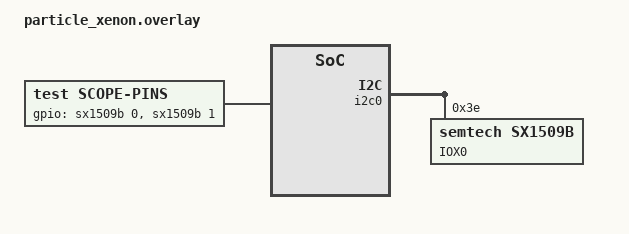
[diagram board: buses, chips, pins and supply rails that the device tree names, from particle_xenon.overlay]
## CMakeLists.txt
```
# SPDX-License-Identifier: Apache-2.0

cmake_minimum_required(VERSION 3.28.0)
find_package(Zephyr REQUIRED HINTS $ENV{ZEPHYR_BASE})
project(gpio_basic_api)

FILE(GLOB app_sources src/main.c src/test*.c)
target_sources(app PRIVATE ${app_sources})
target_sources_ifdef(CONFIG_GPIO_EMUL app PRIVATE src/gpio_emul_callback.c)
```

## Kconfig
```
# Copyright (c) 2023 Nordic Semiconductor ASA
# SPDX-License-Identifier: Apache-2.0

source "Kconfig.zephyr"

config SKIP_PULL_TEST
	bool "Skip the pull test even if the driver supports it"

config GPIO_TEST_READ_DELAY
	int "GPIO basic API test read delay in ms"
	default 0
	help
	  Delay, in milliseconds, before reading the GPIO input in this
	  test. This can help boards with slower GPIO signal propagation.
```

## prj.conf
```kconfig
CONFIG_GPIO=y
CONFIG_GPIO_GET_CONFIG=y
CONFIG_ZTEST=y
CONFIG_TEST_USERSPACE=y
```

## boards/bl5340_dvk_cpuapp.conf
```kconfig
CONFIG_I2C=y
CONFIG_GPIO_TCA9538=y
```

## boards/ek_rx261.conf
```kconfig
CONFIG_READ_DELAY=10
```

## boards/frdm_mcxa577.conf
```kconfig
# The external D9-D10 loopback prevents testing the input pull resistors.
CONFIG_SKIP_PULL_TEST=y
CONFIG_GPIO_TEST_READ_DELAY=10
```

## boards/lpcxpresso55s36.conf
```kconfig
CONFIG_SKIP_PULL_TEST=y
CONFIG_GPIO_TEST_READ_DELAY=100
```

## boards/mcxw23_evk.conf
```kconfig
CONFIG_SKIP_PULL_TEST=y
CONFIG_GPIO_TEST_READ_DELAY=10
```

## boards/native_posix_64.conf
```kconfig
# Copyright (c) 2020 Friedt Professional Engineering Services, Inc
# SPDX-License-Identifier: Apache-2.0

CONFIG_GPIO_EMUL=y
```

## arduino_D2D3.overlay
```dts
/*
 * Copyright (c) 2024 NXP
 *
 * SPDX-License-Identifier: Apache-2.0
 */

/* loopback with arduino header D2 and D3 */

/ {
	resources {
		compatible = "test-gpio-basic-api";
		out-gpios = <&arduino_header 8 (GPIO_ACTIVE_HIGH | GPIO_PUSH_PULL | GPIO_PULL_UP)>;
		in-gpios = <&arduino_header 9 (GPIO_ACTIVE_HIGH | GPIO_PUSH_PULL | GPIO_PULL_UP)>;
		status = "okay";
	};
};
```

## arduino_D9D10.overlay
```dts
/*
 * Copyright (c) 2024 NXP
 *
 * SPDX-License-Identifier: Apache-2.0
 */

/* loopback with arduino header D9 and D10 */

/ {
	resources {
		compatible = "test-gpio-basic-api";
		out-gpios = <&arduino_header 15 (GPIO_ACTIVE_HIGH | GPIO_PUSH_PULL | GPIO_PULL_UP)>;
		in-gpios = <&arduino_header 16 (GPIO_ACTIVE_HIGH | GPIO_PUSH_PULL | GPIO_PULL_UP)>;
		status = "okay";
	};
};
```

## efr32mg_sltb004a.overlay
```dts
/*
 * Copyright (c) 2019 Nordic Semiconductor ASA
 *
 * SPDX-License-Identifier: Apache-2.0
 */

/ {
	scope-pins {
		compatible = "test,scope-pins";
		gpios = <&gpiof 6 0>, <&gpiof 5 0>;
	};
};
```

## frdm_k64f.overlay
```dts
/*
 * Copyright (c) 2019 Nordic Semiconductor ASA
 *
 * SPDX-License-Identifier: Apache-2.0
 */

/ {
	scope-pins {
		compatible = "test,scope-pins";
		gpios =
			<&gpioc 16 0>, <&gpioc 17 0>,
			<&gpioc 2 0>, <&gpioc 3 0>,
			<&gpioc 1 0>, <&gpioc 8 0>,
			<&gpioc 9 0>, <&gpioc 0 0>,
			<&gpioc 7 0>, <&gpioc 5 0>;
			
	};
};
```

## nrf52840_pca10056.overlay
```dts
/*
 * Copyright (c) 2019 Nordic Semiconductor ASA
 *
 * SPDX-License-Identifier: Apache-2.0
 */

/ {
	scope-pins {
		compatible = "test,scope-pins";
		/* Use pins on P3 (Arduino D0) header. */
		gpios =
			<&gpio1 1 0>, <&gpio1 2 0>,
			<&gpio1 3 0>, <&gpio1 4 0>,
			<&gpio1 5 0>, <&gpio1 6 0>,
			<&gpio1 7 0>, <&gpio1 8 0>;
	};
};
```

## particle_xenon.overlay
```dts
/*
 * Copyright (c) 2019 Nordic Semiconductor ASA
 *
 * SPDX-License-Identifier: Apache-2.0
 */

&i2c0 {
	sx1509b: sx1509b@3e {
		compatible = "semtech,sx1509b";
		reg = <0x3e>;
		label = "IOX0";
		#gpio-cells = <2>;
		gpio-controller;
	};
};

/ {
	scope-pins {
		compatible = "test,scope-pins";
		gpios =
			<&sx1509b 0 0>, <&sx1509b 1 0>;
	};
};
```

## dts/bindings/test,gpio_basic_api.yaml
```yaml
#
# Copyright (c) 2019 Nordic Semiconductor ASA
#
# SPDX-License-Identifier: Apache-2.0
#

description: |
    This binding provides resources required to build and run the
    tests/drivers/gpio/gpio_basic_api test in Zephyr.

compatible: "test,gpio_basic_api"

properties:
    out-gpios:
        type: phandle-array
        required: true
        description: |
          Identity of a GPIO that will be configured as an output.  This
          must be on the same device as in-gpios, and physically
          connected to in-gpios.

    in-gpios:
        type: phandle-array
        required: true
        description: |
          Identity of a GPIO that will be configured as an input.  This
          must be on the same device as out-gpios,and physically
          connected to out-gpios.
```

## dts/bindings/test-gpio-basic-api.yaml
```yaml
#
# Copyright (c) 2019 Nordic Semiconductor ASA
#
# SPDX-License-Identifier: Apache-2.0
#

description: |
    This binding provides resources required to build and run the
    tests/drivers/gpio/gpio_basic_api test in Zephyr.

compatible: "test-gpio-basic-api"

properties:
  out-gpios:
    type: phandle-array
    required: true
    description: |
      Identity of a GPIO that will be configured as an output.  This
      must be on the same device as in-gpios, and physically
      connected to in-gpios.

  in-gpios:
    type: phandle-array
    required: true
    description: |
      Identity of a GPIO that will be configured as an input.  This
      must be on the same device as out-gpios,and physically
      connected to out-gpios.
```

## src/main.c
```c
/*
 * Copyright (c) 2016 Intel Corporation
 * Copyright 2024 NXP
 *
 * SPDX-License-Identifier: Apache-2.0
 */

#include <zephyr/pm/device_runtime.h>
#include "test_gpio.h"

/* Grotesque hack for pinmux boards */
#if defined(CONFIG_BOARD_RV32M1_VEGA)
#include <fsl_port.h>
#elif defined(CONFIG_BOARD_UDOO_NEO_FULL_MCIMX6X_M4)
#include "device_imx.h"
#elif defined(CONFIG_BOARD_MIMXRT1050_EVK)
#include <fsl_iomuxc.h>
#elif defined(CONFIG_SOC_SERIES_BSIM_NRFXX)
#include <NRF_GPIO.h>
#endif

static void board_setup(void)
{
#if defined(CONFIG_BOARD_UDOO_NEO_FULL_MCIMX6X_M4)
	/*
	 * Configure pin mux.
	 * The following code needs to configure the same GPIOs which were
	 * selected as test pins in device tree.
	 */

	if (PIN_IN != 15) {
		printk("FATAL: input pin set in DTS %d != %d\n", PIN_IN, 15);
		k_panic();
	}

	if (PIN_OUT != 14) {
		printk("FATAL: output pin set in DTS %d != %d\n", PIN_OUT, 14);
		k_panic();
	}

	/* Configure pin RGMII2_RD2 as GPIO5_IO14. */
	IOMUXC_SW_MUX_CTL_PAD_RGMII2_RD2 =
				IOMUXC_SW_MUX_CTL_PAD_RGMII2_RD2_MUX_MODE(5);
	/* Select pull enabled, speed 100 MHz, drive strength 43 ohm */
	IOMUXC_SW_PAD_CTL_PAD_RGMII2_RD2 =
				IOMUXC_SW_PAD_CTL_PAD_RGMII2_RD2_PUE_MASK |
				IOMUXC_SW_PAD_CTL_PAD_RGMII2_RD2_PKE_MASK |
				IOMUXC_SW_PAD_CTL_PAD_RGMII2_RD2_SPEED(2) |
				IOMUXC_SW_PAD_CTL_PAD_RGMII2_RD2_DSE(6);

	/* Configure pin RGMII2_RD3 as GPIO5_IO15. */
	IOMUXC_SW_MUX_CTL_PAD_RGMII2_RD3 =
				IOMUXC_SW_MUX_CTL_PAD_RGMII2_RD3_MUX_MODE(5);
	/* Select pull enabled, speed 100 MHz, drive strength 43 ohm */
	IOMUXC_SW_PAD_CTL_PAD_RGMII2_RD3 =
				IOMUXC_SW_PAD_CTL_PAD_RGMII2_RD3_PUE_MASK |
				IOMUXC_SW_PAD_CTL_PAD_RGMII2_RD3_PKE_MASK |
				IOMUXC_SW_PAD_CTL_PAD_RGMII2_RD3_SPEED(2) |
				IOMUXC_SW_PAD_CTL_PAD_RGMII2_RD3_DSE(6);
#elif defined(CONFIG_GPIO_EMUL)
	extern struct gpio_callback gpio_emul_callback;
	const struct device *const dev = DEVICE_DT_GET(DEV_OUT);

	zassert_true(device_is_ready(dev), "GPIO dev is not ready");
	int rc = gpio_add_callback(dev, &gpio_emul_callback);
	__ASSERT(rc == 0, "gpio_add_callback() failed: %d", rc);
#elif defined(CONFIG_SOC_SERIES_BSIM_NRFXX)
	static bool done;

	if (!done) {
		done = true;
		/* This functions allows to programmatically short-circuit SOC GPIO pins */
#if defined(CONFIG_BOARD_NRF5340BSIM_NRF5340_CPUAPP)
		/* The 5340/cpuapp GPIO 1, is the HW models GPIO port 3 */
		nrf_gpio_backend_register_short(3, PIN_OUT, 3, PIN_IN);
#else
		nrf_gpio_backend_register_short(1, PIN_OUT, 1, PIN_IN);
#endif
	}
#endif
}

static void *gpio_basic_setup(void)
{
	board_setup();

	(void)pm_device_runtime_get(DEVICE_DT_GET(DEV_IN));
	(void)pm_device_runtime_get(DEVICE_DT_GET(DEV_OUT));
#ifdef CONFIG_UART_CONSOLE
	(void)pm_device_runtime_get(DEVICE_DT_GET(DT_CHOSEN(zephyr_console)));
#endif
	k_object_access_grant(DEVICE_DT_GET(DEV_IN), k_current_get());
	k_object_access_grant(DEVICE_DT_GET(DEV_OUT), k_current_get());
	return NULL;
}

void gpio_basic_teardown(void *args)
{
	(void)args;
	(void)pm_device_runtime_put(DEVICE_DT_GET(DEV_IN));
	(void)pm_device_runtime_put(DEVICE_DT_GET(DEV_OUT));
#ifdef CONFIG_UART_CONSOLE
	(void)pm_device_runtime_put(DEVICE_DT_GET(DT_CHOSEN(zephyr_console)));
#endif
}

/* Test GPIO port configuration */
ZTEST_SUITE(gpio_port, NULL, gpio_basic_setup, NULL, NULL, gpio_basic_teardown);

/* Test GPIO callback management */
ZTEST_SUITE(gpio_port_cb_mgmt, NULL, gpio_basic_setup, NULL, NULL, gpio_basic_teardown);

/* Test GPIO callbacks */
ZTEST_SUITE(gpio_port_cb_vari, NULL, gpio_basic_setup, NULL, NULL, gpio_basic_teardown);

/* Test GPIO port configuration influence on callbacks. Want to run just
 * after flash, hence the name starting in 'a'
 */
ZTEST_SUITE(after_flash_gpio_config_trigger, NULL, gpio_basic_setup, NULL, NULL,
	    gpio_basic_teardown);
```

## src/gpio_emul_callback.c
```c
/*
 * Copyright (c) 2020 Friedt Professional Engineering Services, Inc
 *
 * SPDX-License-Identifier: Apache-2.0
 */

#include <zephyr/device.h>
#include <zephyr/drivers/gpio.h>
#include <zephyr/drivers/gpio/gpio_emul.h>
#include <zephyr/sys/util.h>
#include <zephyr/kernel.h>

#include <zephyr/ztest.h>

#include "test_gpio.h"

/*
 * When GPIO are emulated, this callback can be used to implement the
 * "wiring". E.g. in this test application, PIN_OUT is connected to
 * PIN_IN. When PIN_OUT is set high or low, PIN_IN must be set
 * correspondingly, as if a wire were connecting the two.
 */
static void gpio_emul_callback_handler(const struct device *port,
				      struct gpio_callback *cb,
				      gpio_port_pins_t pins);

struct gpio_callback gpio_emul_callback = {
	.handler = gpio_emul_callback_handler,
	.pin_mask = BIT(PIN_IN) | BIT(PIN_OUT),
};

static void gpio_emul_callback_handler(const struct device *port,
				      struct gpio_callback *cb,
				      gpio_port_pins_t pins)
{
	int r;
	int val;
	uint32_t output_flags;
	uint32_t input_flags;

	__ASSERT(pins & gpio_emul_callback.pin_mask, "invalid mask: %x", pins);

	r = gpio_emul_flags_get(port, PIN_OUT, &output_flags);
	__ASSERT(r == 0, "gpio_emul_flags_get() failed: %d", r);
	r = gpio_emul_flags_get(port, PIN_IN, &input_flags);
	__ASSERT(r == 0, "gpio_emul_flags_get() failed: %d", r);

	if ((output_flags & GPIO_OUTPUT) && (input_flags & GPIO_INPUT)) {
		r = gpio_emul_output_get(port, PIN_OUT);
		__ASSERT(r == 0 || r == 1, "gpio_emul_output_get() failed: %d", r);
		val = r;
		r = gpio_emul_input_set(port, PIN_IN, val);
		__ASSERT(r == 0, "gpio_emul_input_set() failed: %d", r);

		return;
	}

	if ((pins & BIT(PIN_OUT)) && (output_flags == GPIO_DISCONNECTED) &&
	    (input_flags & GPIO_INPUT)) {
		r = gpio_emul_input_set(port, PIN_IN, GPIO_EMUL_INPUT_HI_Z);
		__ASSERT(r == 0, "gpio_emul_input_set() failed: %d", r);

		return;
	}
}

/* gpio_emul_output_get_masked() reports the pins it was asked for and no others. */
ZTEST(gpio_port, test_gpio_emul_output_get_masked_honours_mask)
{
	const struct device *port = DEVICE_DT_GET(DEV_OUT);
	gpio_port_value_t values;

	zassert_ok(gpio_pin_configure(port, PIN_OUT, GPIO_OUTPUT_HIGH));

	zassert_ok(gpio_emul_output_get_masked(port, BIT(PIN_IN), &values));
	zassert_equal(values & ~BIT(PIN_IN), 0, "reported pins outside the mask: 0x%x",
		      (unsigned int)values);
}
```

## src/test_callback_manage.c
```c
/*
 * Copyright (c) 2016 Intel Corporation
 * Copyright 2024 NXP
 *
 * SPDX-License-Identifier: Apache-2.0
 */

#include "test_gpio.h"

static struct drv_data cb_data[2];
static int cb_cnt[2];

static void callback_1(const struct device *dev,
		       struct gpio_callback *gpio_cb, uint32_t pins)
{
	TC_PRINT("%s triggered: %d\n", __func__, ++cb_cnt[0]);

}

static void callback_2(const struct device *dev,
		       struct gpio_callback *gpio_cb, uint32_t pins)
{
	TC_PRINT("%s triggered: %d\n", __func__, ++cb_cnt[1]);
}

static void callback_remove_self(const struct device *dev,
				 struct gpio_callback *gpio_cb, uint32_t pins)
{
	struct drv_data *dd = CONTAINER_OF(gpio_cb, struct drv_data, gpio_cb);

	TC_PRINT("%s triggered: %d\n", __func__, ++cb_cnt[1]);
	dd->aux = gpio_remove_callback(dev, gpio_cb);
}

static int init_callback(const struct device *dev_in, const struct device *dev_out,
			 gpio_callback_handler_t handler_1, gpio_callback_handler_t handler_2)
{
	int rc = gpio_pin_interrupt_configure(dev_in, PIN_IN, GPIO_INT_DISABLE);

	if (rc == 0) {
		rc = gpio_pin_interrupt_configure(dev_out, PIN_OUT, GPIO_INT_DISABLE);
	}
	if (rc == 0) {
		/* 1. set PIN_OUT */
		rc = gpio_pin_configure(dev_out, PIN_OUT, (GPIO_OUTPUT_LOW | PIN_OUT_FLAGS));
	}

	if (rc == 0) {
		/* 2. configure PIN_IN callback, but don't enable */
		rc = gpio_pin_configure(dev_in, PIN_IN, (GPIO_INPUT | PIN_IN_FLAGS));
	}

	if (rc == 0) {
		gpio_init_callback(&cb_data[0].gpio_cb, handler_1, BIT(PIN_IN));
		rc = gpio_add_callback(dev_in, &cb_data[0].gpio_cb);
	}

	if (rc == 0) {
		gpio_init_callback(&cb_data[1].gpio_cb, handler_2, BIT(PIN_IN));
		rc = gpio_add_callback(dev_in, &cb_data[1].gpio_cb);
	}

	return rc;
}

static void trigger_callback(const struct device *dev_in, const struct device *dev_out,
			     int enable_cb)
{
	int rc;

	gpio_pin_set(dev_out, PIN_OUT, 0);
	k_sleep(K_MSEC(100));

	cb_cnt[0] = 0;
	cb_cnt[1] = 0;
	if (enable_cb == 1) {
		rc = gpio_pin_interrupt_configure(dev_in, PIN_IN, GPIO_INT_EDGE_RISING);
	} else {
		rc = gpio_pin_interrupt_configure(dev_in, PIN_IN, GPIO_INT_DISABLE);
	}
	zassert_equal(rc, 0);
	k_sleep(K_MSEC(100));
	gpio_pin_set(dev_out, PIN_OUT, 1);
	k_sleep(K_MSEC(1000));
}

static int test_callback_add_remove(void)
{
	const struct device *const dev_in = DEVICE_DT_GET(DEV_IN);
	const struct device *const dev_out = DEVICE_DT_GET(DEV_OUT);

	/* SetUp: initialize environment */
	int rc = init_callback(dev_in, dev_out, callback_1, callback_2);

	if (rc == -ENOTSUP || rc == -ENOSYS) {
		TC_PRINT("%s not supported\n", __func__);
		return TC_PASS;
	}
	zassert_equal(rc, 0,
		      "init_callback failed");

	/* 3. enable callback, trigger PIN_IN interrupt by operate PIN_OUT */
	trigger_callback(dev_in, dev_out, 1);
	/*= checkpoint: check callback is triggered =*/
	if (cb_cnt[0] != 1 || cb_cnt[1] != 1) {
		TC_ERROR("not trigger callback correctly\n");
		goto err_exit;
	}

	/* 4. remove callback_1 */
	gpio_remove_callback(dev_in, &cb_data[0].gpio_cb);
	trigger_callback(dev_in, dev_out, 1);

	/*= checkpoint: check callback is triggered =*/
	if (cb_cnt[0] != 0 || cb_cnt[1] != 1) {
		TC_ERROR("not trigger callback correctly\n");
		goto err_exit;
	}

	/* 5. remove callback_2 */
	gpio_remove_callback(dev_in, &cb_data[1].gpio_cb);
	trigger_callback(dev_in, dev_out, 1);
	/*= checkpoint: check callback is triggered =*/
	if (cb_cnt[0] != 0 || cb_cnt[1] != 0) {
		TC_ERROR("not trigger callback correctly\n");
		goto err_exit;
	}
	return TC_PASS;

err_exit:
	gpio_remove_callback(dev_in, &cb_data[0].gpio_cb);
	gpio_remove_callback(dev_in, &cb_data[1].gpio_cb);
	return TC_FAIL;
}

static int test_callback_self_remove(void)
{
	int res = TC_FAIL;
	const struct device *const dev_in = DEVICE_DT_GET(DEV_IN);
	const struct device *const dev_out = DEVICE_DT_GET(DEV_OUT);

	/* SetUp: initialize environment */
	int rc = init_callback(dev_in, dev_out, callback_1, callback_remove_self);

	if (rc == -ENOTSUP || rc == -ENOSYS) {
		TC_PRINT("%s not supported\n", __func__);
		return TC_PASS;
	}
	zassert_equal(rc, 0,
		      "init_callback failed");

	gpio_pin_set(dev_out, PIN_OUT, 0);
	k_sleep(K_MSEC(100));

	cb_data[0].aux = INT_MAX;
	cb_data[1].aux = INT_MAX;

	/* 3. enable callback, trigger PIN_IN interrupt by operate PIN_OUT */
	trigger_callback(dev_in, dev_out, 1);

	/*= checkpoint: check both callbacks are triggered =*/
	if (cb_cnt[0] != 1 || cb_cnt[1] != 1) {
		TC_ERROR("not trigger callback correctly\n");
		goto err_exit;
	}

	/*= checkpoint: check remove executed is invoked =*/
	if (cb_data[0].aux != INT_MAX || cb_data[1].aux != 0) {
		TC_ERROR("not remove callback correctly\n");
		goto err_exit;
	}

	/* 4 enable callback, trigger PIN_IN interrupt by operate PIN_OUT */
	trigger_callback(dev_in, dev_out, 1);

	/*= checkpoint: check only remaining callback is triggered =*/
	if (cb_cnt[0] != 1 || cb_cnt[1] != 0) {
		TC_ERROR("not trigger remaining callback correctly\n");
		goto err_exit;
	}

	res = TC_PASS;

err_exit:
	gpio_remove_callback(dev_in, &cb_data[0].gpio_cb);
	gpio_remove_callback(dev_in, &cb_data[1].gpio_cb);
	return res;
}

static int test_callback_enable_disable(void)
{
	const struct device *const dev_in = DEVICE_DT_GET(DEV_IN);
	const struct device *const dev_out = DEVICE_DT_GET(DEV_OUT);

	/* SetUp: initialize environment */
	int rc = init_callback(dev_in, dev_out, callback_1, callback_2);

	if (rc == -ENOTSUP || rc == -ENOSYS) {
		TC_PRINT("%s not supported\n", __func__);
		return TC_PASS;
	}
	zassert_equal(rc, 0,
		      "init_callback failed");

	/* 3. enable callback, trigger PIN_IN interrupt by operate PIN_OUT */
	trigger_callback(dev_in, dev_out, 1);
	/*= checkpoint: check callback is triggered =*/
	if (cb_cnt[0] != 1 || cb_cnt[1] != 1) {
		TC_ERROR("not trigger callback correctly\n");
		goto err_exit;
	}

	/* 4. disable callback */
	trigger_callback(dev_in, dev_out, 0);
	/*= checkpoint: check callback is triggered =*/
	if (cb_cnt[0] != 0 || cb_cnt[1] != 0) {
		TC_ERROR("not trigger callback correctly\n");
		goto err_exit;
	}

	/* 5. enable callback again */
	trigger_callback(dev_in, dev_out, 1);
	/*= checkpoint: check callback is triggered =*/
	if (cb_cnt[0] != 1 || cb_cnt[1] != 1) {
		TC_ERROR("not trigger callback correctly\n");
		goto err_exit;
	}
	gpio_remove_callback(dev_in, &cb_data[0].gpio_cb);
	gpio_remove_callback(dev_in, &cb_data[1].gpio_cb);
	return TC_PASS;

err_exit:
	gpio_remove_callback(dev_in, &cb_data[0].gpio_cb);
	gpio_remove_callback(dev_in, &cb_data[1].gpio_cb);
	return TC_FAIL;
}

ZTEST(gpio_port_cb_mgmt, test_gpio_callback_add_remove)
{
	zassert_equal(test_callback_add_remove(), TC_PASS);
}

ZTEST(gpio_port_cb_mgmt, test_gpio_callback_self_remove)
{
	zassert_equal(test_callback_self_remove(), TC_PASS);
}

ZTEST(gpio_port_cb_mgmt, test_gpio_callback_enable_disable)
{
	zassert_equal(test_callback_enable_disable(), TC_PASS);
}
```

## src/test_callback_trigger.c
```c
/*
 * Copyright (c) 2016 Intel Corporation
 * Copyright 2024 NXP
 *
 * SPDX-License-Identifier: Apache-2.0
 */

#include "test_gpio.h"

static struct drv_data data;
static int cb_cnt;

static void callback(const struct device *dev_in, struct gpio_callback *gpio_cb,
		     uint32_t pins)
{
	const struct device *const dev_out = DEVICE_DT_GET(DEV_OUT);
	const struct drv_data *dd = CONTAINER_OF(gpio_cb,
						 struct drv_data, gpio_cb);

	/*= checkpoint: pins should be marked with correct pin number bit =*/
	zassert_equal(pins, BIT(PIN_IN),
		      "unexpected pins %x", pins);
	++cb_cnt;
	TC_PRINT("callback triggered: %d\n", cb_cnt);
	if ((cb_cnt == 1)
	    && (dd->mode == GPIO_INT_EDGE_BOTH)) {
		gpio_pin_toggle(dev_out, PIN_OUT);
	}
	if (cb_cnt >= MAX_INT_CNT) {
		gpio_pin_set(dev_out, PIN_OUT, 0);
		gpio_pin_interrupt_configure(dev_in, PIN_IN, GPIO_INT_DISABLE);
	}
}

static int test_callback(int mode)
{
	const struct device *const dev_in = DEVICE_DT_GET(DEV_IN);
	const struct device *const dev_out = DEVICE_DT_GET(DEV_OUT);
	struct drv_data *drv_data = &data;

	gpio_pin_interrupt_configure(dev_in, PIN_IN, GPIO_INT_DISABLE);
	gpio_pin_interrupt_configure(dev_out, PIN_OUT, GPIO_INT_DISABLE);

	/* 1. set PIN_OUT to logical initial state inactive */
	uint32_t out_flags = GPIO_OUTPUT_LOW | PIN_OUT_FLAGS;

	if ((mode & GPIO_INT_LOW_0) != 0) {
		out_flags = GPIO_OUTPUT_HIGH | GPIO_ACTIVE_LOW;
	}

	int rc = gpio_pin_configure(dev_out, PIN_OUT, out_flags);

	if (rc != 0) {
		TC_ERROR("PIN_OUT config fail: %d", rc);
		return TC_FAIL;
	}

	/* 2. configure PIN_IN callback and trigger condition */
	rc = gpio_pin_configure(dev_in, PIN_IN, (GPIO_INPUT | PIN_IN_FLAGS));
	if (rc != 0) {
		TC_ERROR("config PIN_IN fail: %d\n", rc);
		goto err_exit;
	}

	drv_data->mode = mode;
	gpio_init_callback(&drv_data->gpio_cb, callback, BIT(PIN_IN));
	rc = gpio_add_callback(dev_in, &drv_data->gpio_cb);
	if (rc == -ENOTSUP || rc == -ENOSYS) {
		TC_PRINT("interrupts not supported\n");
		return TC_PASS;
	} else if (rc != 0) {
		TC_ERROR("set PIN_IN callback fail: %d\n", rc);
		return TC_FAIL;
	}

	/* 3. enable callback, trigger PIN_IN interrupt by operate PIN_OUT */
	cb_cnt = 0;
	rc = gpio_pin_interrupt_configure(dev_in, PIN_IN, mode);
	if (rc == -ENOTSUP || rc == -ENOSYS) {
		TC_PRINT("Mode %x not supported\n", mode);
		goto pass_exit;
	} else if (rc != 0) {
		TC_ERROR("config PIN_IN interrupt fail: %d\n", rc);
		goto err_exit;
	}
	k_sleep(K_MSEC(100));
	gpio_pin_set(dev_out, PIN_OUT, 1);
	k_sleep(K_MSEC(1000));
	(void)gpio_pin_interrupt_configure(dev_in, PIN_IN, GPIO_INT_DISABLE);

	/*= checkpoint: check callback is triggered =*/
	TC_PRINT("OUT init %x, IN cfg %x, cnt %d\n", out_flags, mode, cb_cnt);
	if (mode == GPIO_INT_EDGE_BOTH) {
		if (cb_cnt != 2) {
			TC_ERROR("double edge not detected\n");
			goto err_exit;
		}
		goto pass_exit;
	}
	if ((mode & GPIO_INT_EDGE) == GPIO_INT_EDGE) {
		if (cb_cnt != 1) {
			TC_ERROR("edge not trigger callback correctly\n");
			goto err_exit;
		}
		goto pass_exit;
	} else {
		if (cb_cnt != MAX_INT_CNT) {
			TC_ERROR("level not trigger callback correctly\n");
			goto err_exit;
		}
	}

pass_exit:
	gpio_remove_callback(dev_in, &drv_data->gpio_cb);
	return TC_PASS;

err_exit:
	gpio_remove_callback(dev_in, &drv_data->gpio_cb);
	return TC_FAIL;
}

/* export test cases */
ZTEST(gpio_port_cb_vari, test_gpio_callback_variants)
{
	zassert_equal(test_callback(GPIO_INT_EDGE_FALLING), TC_PASS,
		      "falling edge failed");
	zassert_equal(test_callback(GPIO_INT_EDGE_RISING), TC_PASS,
		      "rising edge failed");
	zassert_equal(test_callback(GPIO_INT_EDGE_TO_ACTIVE), TC_PASS,
		      "edge active failed");
	zassert_equal(test_callback(GPIO_INT_EDGE_TO_INACTIVE), TC_PASS,
		      "edge inactive failed");
	zassert_equal(test_callback(GPIO_INT_LEVEL_HIGH), TC_PASS,
		      "level high failed");
	zassert_equal(test_callback(GPIO_INT_LEVEL_LOW), TC_PASS,
		      "level low failed");
	zassert_equal(test_callback(GPIO_INT_LEVEL_ACTIVE), TC_PASS,
		      "level active failed");
	zassert_equal(test_callback(GPIO_INT_LEVEL_INACTIVE), TC_PASS,
		      "level inactive failed");
	zassert_equal(test_callback(GPIO_INT_EDGE_BOTH), TC_PASS,
		      "edge both failed");
}
```

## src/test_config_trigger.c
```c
/*
 * Copyright (c) 2023 Intel Corporation
 * Copyright 2024 NXP
 *
 * SPDX-License-Identifier: Apache-2.0
 */

#include "test_gpio.h"

static struct drv_data data;
static int cb_cnt;

static void callback(const struct device *dev,
		     struct gpio_callback *gpio_cb, uint32_t pins)
{
	/*= checkpoint: pins should be marked with correct pin number bit =*/
	zassert_equal(pins, BIT(PIN_IN),
		      "unexpected pins %x", pins);

	++cb_cnt;
}

ZTEST(after_flash_gpio_config_trigger, test_gpio_config_twice_trigger)
{
	const struct device *const dev_in = DEVICE_DT_GET(DEV_IN);
	const struct device *const dev_out = DEVICE_DT_GET(DEV_OUT);
	struct drv_data *drv_data = &data;
	int ret;

	cb_cnt = 0;

	ret = gpio_pin_configure(dev_out, PIN_OUT, GPIO_DISCONNECTED);
	if (ret == -ENOTSUP) {
		TC_PRINT("NOTE: cannot configure pin as disconnected; trying as input\n");
		ret = gpio_pin_configure(dev_out, PIN_OUT, GPIO_INPUT | GPIO_PULL_UP);
	}
	zassert_ok(ret, "config PIN_OUT failed");

	/* 1. Configure PIN_IN callback */
	ret = gpio_pin_configure(dev_in, PIN_IN, GPIO_INPUT);
	zassert_ok(ret, "config PIN_IN failed");

	gpio_init_callback(&drv_data->gpio_cb, callback, BIT(PIN_IN));
	ret = gpio_add_callback(dev_in, &drv_data->gpio_cb);
	if (ret == -ENOTSUP || ret == -ENOSYS) {
		ztest_test_skip();
		return;
	}
	zassert_ok(ret, "add callback failed");

	/* 2. Enable PIN callback as both edges */
	ret = gpio_pin_interrupt_configure(dev_in, PIN_IN, GPIO_INT_EDGE_BOTH);
	if (ret == -ENOTSUP || ret == -ENOSYS) {
		TC_PRINT("Both edge GPIO interrupt not supported.\n");
		gpio_remove_callback(dev_in, &drv_data->gpio_cb);
	} else {
		zassert_ok(ret, "enable callback failed");
	}

	/* 3. Configure PIN_OUT as open drain, internal pull-up (may trigger
	 * callback)
	 */
	ret = gpio_pin_configure(dev_out, PIN_OUT, GPIO_OUTPUT | GPIO_OPEN_DRAIN | GPIO_PULL_UP);
	if (ret == -ENOTSUP) {
		TC_PRINT("Open drain not supported.\n");
		gpio_remove_callback(dev_in, &drv_data->gpio_cb);
		ztest_test_skip();
		return;
	}
	zassert_ok(ret, "config PIN_OUT failed");

	/* 4. Configure PIN_OUT again (should not trigger callback)  */
	ret = gpio_pin_configure(dev_out, PIN_OUT, GPIO_OUTPUT | GPIO_OPEN_DRAIN | GPIO_PULL_UP);
	zassert_ok(ret, "config PIN_OUT twice failed");

	/* 5. Wait a bit and ensure that interrupt happened at most once */
	k_sleep(K_MSEC(10));
	zassert_between_inclusive(cb_cnt, 0, 1, "Got %d interrupts", cb_cnt);

	ret = gpio_pin_interrupt_configure(dev_in, PIN_IN, GPIO_INT_DISABLE);
	if (ret == -ENOTSUP || ret == -ENOSYS) {
		TC_PRINT("GPIO_INT_DISABLE not supported.\n");
	} else {
		zassert_ok(ret, "interrupt disabling failed");
	}

	gpio_remove_callback(dev_in, &drv_data->gpio_cb);
}

ZTEST(after_flash_gpio_config_trigger, test_gpio_config_trigger)
{
	const struct device *const dev_in = DEVICE_DT_GET(DEV_IN);
	const struct device *const dev_out = DEVICE_DT_GET(DEV_OUT);
	struct drv_data *drv_data = &data;
	int ret;

	cb_cnt = 0;

	ret = gpio_pin_configure(dev_out, PIN_OUT, GPIO_DISCONNECTED);
	if (ret == -ENOTSUP) {
		TC_PRINT("NOTE: cannot configure pin as disconnected; trying as input\n");
		ret = gpio_pin_configure(dev_out, PIN_OUT, GPIO_INPUT | GPIO_PULL_UP);
	}
	zassert_ok(ret, "config PIN_OUT failed");

	/* 1. Configure PIN_IN callback */
	ret = gpio_pin_configure(dev_in, PIN_IN, GPIO_INPUT);
	zassert_ok(ret, "config PIN_IN failed");

	gpio_init_callback(&drv_data->gpio_cb, callback, BIT(PIN_IN));
	ret = gpio_add_callback(dev_in, &drv_data->gpio_cb);
	if (ret == -ENOTSUP || ret == -ENOSYS) {
		ztest_test_skip();
		return;
	}
	zassert_ok(ret, "add callback failed");

	/* 2. Enable PIN callback as both edges */
	ret = gpio_pin_interrupt_configure(dev_in, PIN_IN, GPIO_INT_EDGE_BOTH);
	if (ret == -ENOTSUP || ret == -ENOSYS) {
		TC_PRINT("Both edge GPIO interrupt not supported.\n");
		gpio_remove_callback(dev_in, &drv_data->gpio_cb);
	} else {
		zassert_ok(ret, "enable callback failed");
	}

	/* 3. Configure PIN_OUT as open drain, internal pull-up (may trigger
	 * callback)
	 */
	ret = gpio_pin_configure(dev_out, PIN_OUT, GPIO_OUTPUT | GPIO_OPEN_DRAIN | GPIO_PULL_UP);
	if (ret == -ENOTSUP) {
		TC_PRINT("Open drain not supported.\n");
		gpio_remove_callback(dev_in, &drv_data->gpio_cb);
		ztest_test_skip();
		return;
	}
	zassert_ok(ret, "config PIN_OUT failed");

	/* 4. Wait a bit and ensure that interrupt happened at most once */
	k_sleep(K_MSEC(10));
	zassert_between_inclusive(cb_cnt, 0, 1, "Got %d interrupts", cb_cnt);

	ret = gpio_pin_interrupt_configure(dev_in, PIN_IN, GPIO_INT_DISABLE);
	if (ret == -ENOTSUP || ret == -ENOSYS) {
		TC_PRINT("GPIO_INT_DISABLE not supported.\n");
	} else {
		zassert_ok(ret, "interrupt disabling failed");
	}

	gpio_remove_callback(dev_in, &drv_data->gpio_cb);
}
```

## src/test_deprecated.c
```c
/*
 * Copyright (c) 2016 Intel Corporation
 * Copyright (c) 2020 Nordic Semiconductor ASA
 *
 * SPDX-License-Identifier: Apache-2.0
 */

/* Avoid CI warnings about use of deprecated API.  The purpose of this
 * module is to test that the deprecated API still works.
 */
#undef __deprecated
#define __deprecated
#undef __DEPRECATED_MACRO
#define __DEPRECATED_MACRO

#include "test_gpio.h"

static struct drv_data data;
static int cb_cnt;

static void callback(struct device *dev,
		     struct gpio_callback *gpio_cb, uint32_t pins)
{
	int rc;
	const struct drv_data *dd = CONTAINER_OF(gpio_cb,
						 struct drv_data, gpio_cb);

	/*= checkpoint: pins should be marked with correct pin number bit =*/
	zassert_equal(pins, BIT(PIN_IN),
		      "unexpected pins %x", pins);
	++cb_cnt;
	TC_PRINT("callback triggered: %d\n", cb_cnt);
	if ((cb_cnt == 1)
	    && (dd->mode == GPIO_INT_DOUBLE_EDGE)) {
		gpio_pin_write(dev, PIN_OUT, dd->aux);
	}
	if (cb_cnt >= MAX_INT_CNT) {
		gpio_pin_write(dev, PIN_OUT, dd->aux);

		/* NB: The legacy idiom for disabling interrupts is to
		 * pass GPIO_DIR_IN without any interrupt-related
		 * flags.  In the new API this leaves the interrupt
		 * configuration of the pin unchanged, which causes
		 * level interrupts to repeat forever.  To prevent hangs
		 * it's necessary to explicitly disable the interrupt.
		 */
		rc = gpio_pin_configure(dev, PIN_IN, GPIO_DIR_IN
					| GPIO_INT_DISABLE);
		zassert_equal(rc, 0,
			      "disable interrupts failed: %d", rc);
	}
}

static int test_callback(gpio_flags_t int_flags)
{
	struct device *dev = device_get_binding(DEV_NAME);
	struct drv_data *drv_data = &data;
	bool active_level = (int_flags & GPIO_INT_ACTIVE_HIGH) != 0;
	int rc;

	gpio_pin_disable_callback(dev, PIN_IN);
	gpio_pin_disable_callback(dev, PIN_OUT);

	/* 1. set PIN_OUT to non-active state */
	drv_data->aux = (active_level == false);

	rc = gpio_pin_configure(dev, PIN_OUT, GPIO_DIR_OUT);
	if (rc == 0) {
		gpio_pin_write(dev, PIN_OUT, !active_level);
	}

	if (rc != 0) {
		TC_ERROR("PIN_OUT config fail: %d", rc);
		return TC_FAIL;
	}

	/* 2. configure PIN_IN callback and trigger condition */
	rc = gpio_pin_configure(dev, PIN_IN,
				GPIO_DIR_IN | GPIO_INT
				| GPIO_INT_DEBOUNCE
				| int_flags);
	if (rc == -ENOTSUP) {
		TC_PRINT("interrupt configuration not supported\n");
		return TC_PASS;
	} else if (rc != 0) {
		TC_ERROR("config PIN_IN fail: %d\n", rc);
		return TC_FAIL;
	}

	drv_data->mode = int_flags;
	gpio_init_callback(&drv_data->gpio_cb, callback, BIT(PIN_IN));
	rc = gpio_add_callback(dev, &drv_data->gpio_cb);
	if (rc == -ENOTSUP) {
		TC_PRINT("interrupts not supported\n");
		return TC_PASS;
	} else if (rc != 0) {
		TC_ERROR("set PIN_IN callback fail: %d\n", rc);
		return TC_FAIL;
	}

	/* 3. enable callback, trigger PIN_IN interrupt by operate PIN_OUT */
	cb_cnt = 0;
	rc = gpio_pin_enable_callback(dev, PIN_IN);
	if (rc == -ENOTSUP) {
		TC_PRINT("Mode %x not supported\n", int_flags);
		goto pass_exit;
	} else if (rc != 0) {
		TC_ERROR("enable PIN_IN interrupt fail: %d\n", rc);
		goto err_exit;
	}
	k_sleep(K_MSEC(100));
	gpio_pin_write(dev, PIN_OUT, active_level);
	k_sleep(K_MSEC(1000));
	(void)gpio_pin_disable_callback(dev, PIN_IN);
	(void)gpio_remove_callback(dev, &drv_data->gpio_cb);
	(void)gpio_pin_configure(dev, PIN_IN, GPIO_INT_DISABLE);

	/*= checkpoint: check callback is triggered =*/
	TC_PRINT("INT cfg %x, cnt %d\n", int_flags, cb_cnt);
	if (int_flags == GPIO_INT_DOUBLE_EDGE) {
		if (cb_cnt != 2) {
			TC_ERROR("double edge not detected\n");
			goto err_exit;
		}
		goto pass_exit;
	}
	if ((int_flags & GPIO_INT_EDGE) == GPIO_INT_EDGE) {
		if (cb_cnt != 1) {
			TC_ERROR("edge not trigger callback correctly\n");
			goto err_exit;
		}
		goto pass_exit;
	} else {
		if (cb_cnt != MAX_INT_CNT) {
			TC_ERROR("level not trigger callback correctly\n");
			goto err_exit;
		}
	}

pass_exit:
	return TC_PASS;

err_exit:
	return TC_FAIL;
}

static int test_callback_enable_disable(void)
{
	return TC_PASS;
}

/* export test cases */
void test_gpio_deprecated(void)
{
	zassert_equal(test_callback_enable_disable(),
		      TC_PASS, "callback enable/disable failed");
	zassert_equal(test_callback(GPIO_INT_EDGE | GPIO_INT_ACTIVE_HIGH),
		      TC_PASS, "rising edge failed");
	zassert_equal(test_callback(GPIO_INT_EDGE | GPIO_INT_ACTIVE_LOW),
		      TC_PASS, "falling edge failed");
	zassert_equal(test_callback(GPIO_INT_EDGE_BOTH),
		      TC_PASS, "double edge failed");
	zassert_equal(test_callback(GPIO_INT_LEVEL | GPIO_INT_ACTIVE_HIGH),
		      TC_PASS, "level high failed");
	zassert_equal(test_callback(GPIO_INT_LEVEL | GPIO_INT_ACTIVE_LOW),
		      TC_PASS, "level low failed");
}
```

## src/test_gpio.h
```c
/*
 * Copyright (c) 2015-2016 Intel Corporation.
 *
 * SPDX-License-Identifier: Apache-2.0
 */

#ifndef __TEST_GPIO_H__
#define __TEST_GPIO_H__

#include <zephyr/kernel.h>
#include <zephyr/drivers/gpio.h>
#include <zephyr/sys/util.h>
#include <zephyr/ztest.h>

#if DT_NODE_HAS_STATUS_OKAY(DT_INST(0, test_gpio_basic_api))

/* Execution of the test requires hardware configuration described in
 * devicetree.  See the test,gpio_basic_api binding local to this test
 * for details.
 */
#define DEV_OUT DT_GPIO_CTLR(DT_INST(0, test_gpio_basic_api), out_gpios)
#define DEV_IN DT_GPIO_CTLR(DT_INST(0, test_gpio_basic_api), in_gpios)
#define PIN_OUT DT_GPIO_PIN(DT_INST(0, test_gpio_basic_api), out_gpios)
#define PIN_OUT_FLAGS DT_GPIO_FLAGS(DT_INST(0, test_gpio_basic_api), out_gpios)
#define PIN_IN DT_GPIO_PIN(DT_INST(0, test_gpio_basic_api), in_gpios)
#define PIN_IN_FLAGS DT_GPIO_FLAGS(DT_INST(0, test_gpio_basic_api), in_gpios)

#else
#error Unsupported board
#endif

#ifndef PIN_OUT
/* For build-only testing use fixed pins. */
#define PIN_OUT 2
#define PIN_IN 3
#endif

#define MAX_INT_CNT 3
struct drv_data {
	struct gpio_callback gpio_cb;
	gpio_flags_t mode;
	int index;
	int aux;
};

void test_gpio_pin_read_write(void);
void test_gpio_callback_add_remove(void);
void test_gpio_callback_self_remove(void);
void test_gpio_callback_enable_disable(void);
void test_gpio_callback_variants(void);

void test_gpio_port(void);

void test_gpio_deprecated(void);

#endif /* __TEST_GPIO_H__ */
```

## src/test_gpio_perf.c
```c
/*
 * Copyright (c) 2019 Nordic Semiconductor ASA
 *
 * SPDX-License-Identifier: Apache-2.0
 */

#include "test_gpio.h"

static struct device *dev;
static gpio_port_pins_t out_pins;
static gpio_port_pins_t in_pins;
static gpio_port_pins_t os1_pins; /* active high pins */
static gpio_port_pins_t os2_pins; /* active low pins */

static void measure(const char* tag,
		    void (*op)(void))
{
	u32_t ts = k_cycle_get_32();
	u32_t const dur_cyc = sys_clock_hw_cycles_per_sec() / 2;
	u32_t te;
	unsigned int count = 0;

	do {
		op();
		te = k_cycle_get_32();
		++count;
	} while ((te - ts) < dur_cyc);


	gpio_port_clear_bits_raw(dev, out_pins);

	u64_t nom = (te - ts) * (u64_t)NSEC_PER_SEC;
	u64_t div = count * (u64_t)sys_clock_hw_cycles_per_sec();
	u32_t op_us = ceiling_fraction(nom, div);

	TC_PRINT("- %s : %u iterations in %u cycles : %u ns / op\n",
		 tag, count, te - ts, op_us);
}

static void iter_nop(void)
{
}

static void iter_s1(void)
{
	/* All pins high */
	gpio_port_set_bits_raw(dev, out_pins);

	/* All pins inactive: s1 goes low, s2 stays high */
	gpio_port_clear_bits(dev, out_pins);

	/* s1 goes high, s2 stays high */
	gpio_port_set_bits(dev, os1_pins);

	/* s1 stays high, s2 goes low */
	gpio_port_set_bits(dev, os2_pins);

	/* toggle: s1 low, s2 high */
	gpio_port_toggle_bits(dev, out_pins);

	/* OUT high, rest unchanged */
	gpio_pin_set(dev, PIN_OUT, 1);

	/* All pins low */
	gpio_port_clear_bits_raw(dev, out_pins);
}

static int test_perf(void)
{
	static const struct scope_type {
		const char* devname;
		u8_t pin;
	} scope_pins[] = {
#ifdef DT_TEST_SCOPE_PINS_SCOPE_PINS_GPIOS_PIN_2
		{ DT_TEST_SCOPE_PINS_SCOPE_PINS_GPIOS_CONTROLLER_2,
		  DT_TEST_SCOPE_PINS_SCOPE_PINS_GPIOS_PIN_2 },
#endif
#ifdef DT_TEST_SCOPE_PINS_SCOPE_PINS_GPIOS_PIN_3
		{ DT_TEST_SCOPE_PINS_SCOPE_PINS_GPIOS_CONTROLLER_3,
		  DT_TEST_SCOPE_PINS_SCOPE_PINS_GPIOS_PIN_3 },
#endif
#ifdef DT_TEST_SCOPE_PINS_SCOPE_PINS_GPIOS_PIN_4
		{ DT_TEST_SCOPE_PINS_SCOPE_PINS_GPIOS_CONTROLLER_4,
		  DT_TEST_SCOPE_PINS_SCOPE_PINS_GPIOS_PIN_4 },
#endif
#ifdef DT_TEST_SCOPE_PINS_SCOPE_PINS_GPIOS_PIN_5
		{ DT_TEST_SCOPE_PINS_SCOPE_PINS_GPIOS_CONTROLLER_5,
		  DT_TEST_SCOPE_PINS_SCOPE_PINS_GPIOS_PIN_5 },
#endif
#ifdef DT_TEST_SCOPE_PINS_SCOPE_PINS_GPIOS_PIN_6
		{ DT_TEST_SCOPE_PINS_SCOPE_PINS_GPIOS_CONTROLLER_6,
		  DT_TEST_SCOPE_PINS_SCOPE_PINS_GPIOS_PIN_6 },
#endif
#ifdef DT_TEST_SCOPE_PINS_SCOPE_PINS_GPIOS_PIN_7
		{ DT_TEST_SCOPE_PINS_SCOPE_PINS_GPIOS_CONTROLLER_7,
		  DT_TEST_SCOPE_PINS_SCOPE_PINS_GPIOS_PIN_7 },
#endif
#ifdef DT_TEST_SCOPE_PINS_SCOPE_PINS_GPIOS_PIN_8
		{ DT_TEST_SCOPE_PINS_SCOPE_PINS_GPIOS_CONTROLLER_8,
		  DT_TEST_SCOPE_PINS_SCOPE_PINS_GPIOS_PIN_8 },
#endif
	};
	const struct scope_type *sp = scope_pins;
	const struct scope_type *const spe = sp + sizeof(scope_pins) / sizeof(*scope_pins);
	size_t nout = 1;

	out_pins = BIT(PIN_OUT);
	dev = device_get_binding(DEV_NAME);
	zassert_not_equal(dev, NULL,
			  "Device not found");

	zassert_equal(gpio_pin_configure(dev, PIN_OUT, GPIO_OUTPUT_LOW), 0,
		      "PIN_OUT configure failed");
	zassert_equal(gpio_pin_configure(dev, PIN_IN, GPIO_INPUT), 0,
		      "PIN_OUT configure failed");

	while (sp < spe) {
		printk("P%u : %s %u\n", (u32_t)(sp - scope_pins), sp->devname, sp->pin);
		if (strcmp(sp->devname, DEV_NAME) == 0) {
			u32_t flags = GPIO_OUTPUT_LOW;
			out_pins |= BIT(sp->pin);
			if ((nout & 1) == 1) {
				flags |= GPIO_ACTIVE_LOW;
				os2_pins |= BIT(sp->pin);
			}
			zassert_equal(gpio_pin_configure(dev, sp->pin, flags), 0,
				      "Scope pin configure failed");
			++nout;
		}
		++sp;
	}

	os1_pins = out_pins ^ os2_pins;

	out_pins |= BIT(PIN_OUT);
	in_pins = BIT(PIN_IN);

	TC_PRINT("%s : on %s os1 %x os2 %x in %x\n", __func__,
		 DEV_NAME, os1_pins, os2_pins, in_pins);

	k_usleep(1);

	measure("nop", iter_nop);
	measure("s1", iter_s1);

	return TC_PASS;
}


void test_gpio_perf(void)
{
	if (!IS_ENABLED(DT_INST_0_TEST_SCOPE_PINS)) {
		TC_PRINT("Performance test not supported\n");
		return;
	}
	zassert_equal(test_perf(), TC_PASS,
		      "performance test completed");
}
```

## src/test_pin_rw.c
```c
/*
 * Copyright (c) 2016 Intel Corporation
 *
 * SPDX-License-Identifier: Apache-2.0
 */

/**
 * @addtogroup t_gpio_basic_api
 * @{
 * @defgroup t_gpio_basic_read_write test_gpio_basic_read_write
 * @brief TestPurpose: verify zephyr gpio read and write correctly
 * @}
 */

#include <inttypes.h>

#include <random/rand32.h>

#include "test_gpio.h"

void test_gpio_pin_read_write(void)
{
	struct device *dev = device_get_binding(DEV_NAME);

	/* set PIN_OUT as writer */
	TC_PRINT("device=%s, pin1=%d, pin2=%d\n", DEV_NAME, PIN_OUT, PIN_IN);
	gpio_pin_configure(dev, PIN_OUT, GPIO_DIR_OUT);
	/* set PIN_IN as reader */
	gpio_pin_configure(dev, PIN_IN, GPIO_DIR_IN);
	gpio_pin_disable_callback(dev, PIN_IN);

	u32_t val_write, val_read = 0U;
	int i = 0;

	while (i++ < 32) {
		val_write = sys_rand32_get() / 3U % 2;
		zassert_true(gpio_pin_write(dev, PIN_OUT, val_write) == 0,
			    "write data fail");
		TC_PRINT("write: %" PRIu32 "\n", val_write);
		k_sleep(100);
		zassert_true(gpio_pin_read(dev, PIN_IN, &val_read) == 0,
			    "read data fail");
		TC_PRINT("read: %" PRIu32 "\n", val_read);

		/*= checkpoint: compare write and read value =*/
		zassert_true(val_write == val_read,
			    "Inconsistent GPIO read/write value");
	}
}
```
